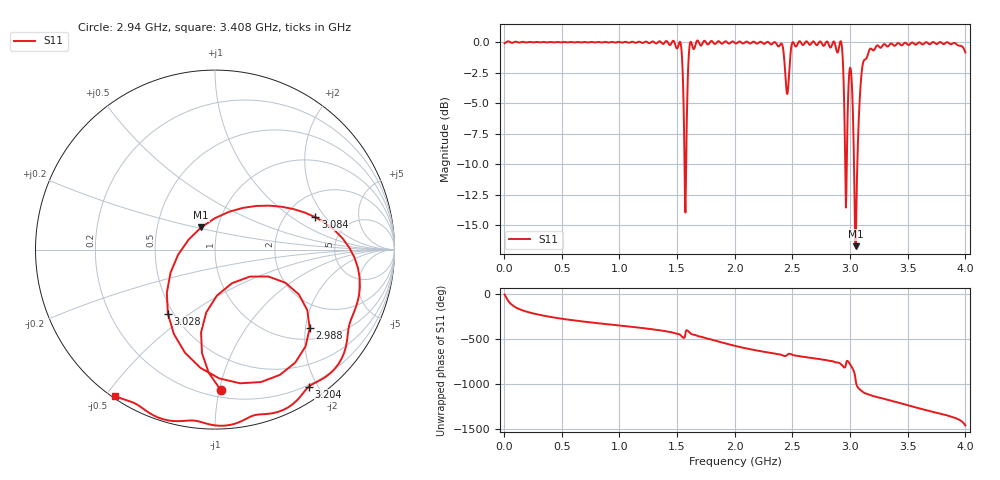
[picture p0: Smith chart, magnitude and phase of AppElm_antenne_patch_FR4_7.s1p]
! TOUCHSTONE file generated by CST MICROWAVE STUDIO
! Date and time: Tue Jun  7 20:32:32 2022
! Project name: AppElm_antenne_patch_FR4.cst
! Parameters = {L=45; W=58.5; e=0.035; h=1.6; lambda=0.190476; ls=120; w0=1.6; w1=0.533333; ws=120; y0=21; y1=23.8095}
! Header version: 2018
! Port assignment regex: !\s*Touchstone port\s*([0-9]+)\s*=\s*(CST MWS port|CST DS port)\s*([0-9]+|Zmin|Zmax)\s*\(\"(.*)\"\)(\s*mode\s*([0-9]+))?.*
! Touchstone port assignment:
! Touchstone port 1 = CST MWS port 1 ("")
# GHz S MA R 50
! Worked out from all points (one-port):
!   1000 points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, 4 MHz to 4 GHz, reference 50 ohm
!   lowest |S11| = -16.7 dB at 3.048 GHz (marker M1), VSWR 1.34, Z = 41.6 + j10.5 ohm
!   |S11| at or under -10 dB: 1.564 GHz to 1.578 GHz (13.89 MHz wide, 0.884 % of centre); 2.957394 GHz to 2.971332 GHz (13.94 MHz wide, 0.47 % of centre); 3.034 GHz to 3.063 GHz (28.69 MHz wide, 0.941 % of centre)
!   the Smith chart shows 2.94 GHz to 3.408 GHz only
!   S11 on the Smith chart (normalised r, x): 2.94 GHz: 0.25, -1.01; 2.988 GHz: 1.28, -2.11; 3.028 GHz: 0.47, -0.41; 3.084 GHz: 2.88, +1.59; 3.204 GHz: 0.18, -1.88; 3.408 GHz: 0.01, -0.53
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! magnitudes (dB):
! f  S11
! 4 MHz  -0.1
! 504 MHz  0.0
! 1.004 GHz  0.0
! 1.504 GHz  -0.5
! 1.536 GHz  -0.4
! 1.56 GHz  -7.1
! 1.572 GHz  -14.0
! 1.584 GHz  -6.4
! 1.604 GHz  -0.7
! 1.62 GHz  0.0
! 2.004 GHz  -0.1
! 2.4 GHz  -0.1
! 2.456 GHz  -4.2
! 2.504 GHz  0.0
! 2.912 GHz  0.0
! 2.94 GHz  -2.1
! 2.964 GHz  -13.6
! 2.988 GHz  -3.3
! 3.004 GHz  -2.1
! 3.028 GHz  -7.1
! 3.048 GHz  -16.7
! 3.06 GHz  -11.1
! 3.084 GHz  -4.6
! 3.116 GHz  -1.6
! 3.204 GHz  -0.7
! 3.408 GHz  -0.1
! 3.504 GHz  -0.2
! 4 GHz  -0.9
